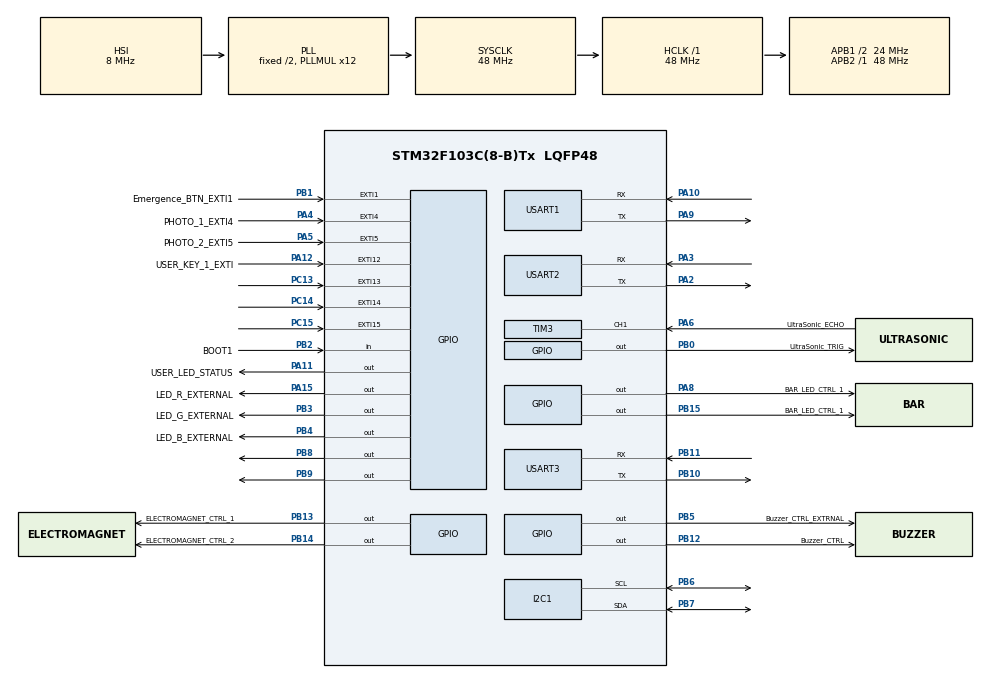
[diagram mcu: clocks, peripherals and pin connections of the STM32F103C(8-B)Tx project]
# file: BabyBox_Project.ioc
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Mcu.Family=STM32F1
Mcu.Name=STM32F103C(8-B)Tx
Mcu.Package=LQFP48
NVIC.EXTI1_IRQn=true\:3\:0\:true\:false\:true\:true
NVIC.EXTI4_IRQn=true\:4\:0\:true\:false\:true\:true
NVIC.EXTI9_5_IRQn=true\:1\:0\:true\:false\:true\:true
NVIC.PriorityGroup=NVIC_PRIORITYGROUP_4
NVIC.TIM1_BRK_IRQn=true\:0\:0\:true\:false\:true\:true
NVIC.TIM1_UP_IRQn=true\:0\:0\:true\:false\:true\:true
NVIC.TIM3_IRQn=true\:2\:0\:true\:false\:true\:true
PA10.Mode=Asynchronous
PA10.Signal=USART1_RX
PA11.GPIO_Label=USER_LED_STATUS
PA11.Signal=GPIO_Output
PA12.GPIO_Label=USER_KEY_1_EXTI
PA12.Signal=GPXTI12
PA13.Signal=SYS_JTMS-SWDIO
PA14.Signal=SYS_JTCK-SWCLK
PA15.GPIO_Label=LED_R_EXTERNAL
PA15.Signal=GPIO_Output
PA2.Mode=Asynchronous
PA2.Signal=USART2_TX
PA3.Mode=Asynchronous
PA3.Signal=USART2_RX
PA4.GPIO_Label=PHOTO_1_EXTI4
PA4.GPIO_ModeDefaultEXTI=GPIO_MODE_IT_RISING_FALLING
PA4.GPIO_PuPd=GPIO_PULLUP
PA4.Signal=GPXTI4
PA5.GPIO_Label=PHOTO_2_EXTI5
PA5.GPIO_ModeDefaultEXTI=GPIO_MODE_IT_RISING_FALLING
PA5.GPIO_PuPd=GPIO_PULLUP
PA5.Signal=GPXTI5
PA6.GPIO_Label=UltraSonic_ECHO
PA6.Signal=S_TIM3_CH1
PA8.GPIO_Label=BAR_LED_CTRL_1
PA8.Signal=GPIO_Output
PA9.Mode=Asynchronous
PA9.Signal=USART1_TX
PB0.GPIO_Label=UltraSonic_TRIG
PB0.Signal=GPIO_Output
PB1.GPIO_Label=Emergence_BTN_EXTI1
PB1.Signal=GPXTI1
PB10.Mode=Asynchronous
PB10.Signal=USART3_TX
PB11.Mode=Asynchronous
PB11.Signal=USART3_RX
PB12.GPIO_Label=Buzzer_CTRL
PB12.Signal=GPIO_Output
PB13.GPIO_Label=ELECTROMAGNET_CTRL_1
PB13.GPIO_PuPd=GPIO_PULLDOWN
PB13.Signal=GPIO_Output
PB14.GPIO_Label=ELECTROMAGNET_CTRL_2
PB14.GPIO_PuPd=GPIO_PULLDOWN
PB14.Signal=GPIO_Output
PB15.GPIO_Label=BAR_LED_CTRL_1
PB15.Signal=GPIO_Output
PB2.GPIO_Label=BOOT1
PB2.Signal=GPIO_Input
PB3.GPIO_Label=LED_G_EXTERNAL
PB3.Signal=GPIO_Output
PB4.GPIO_Label=LED_B_EXTERNAL
PB4.Signal=GPIO_Output
PB5.GPIO_Label=Buzzer_CTRL_EXTRNAL
PB5.Signal=GPIO_Output
PB6.Mode=I2C
PB6.Signal=I2C1_SCL
PB7.Mode=I2C
PB7.Signal=I2C1_SDA
PB8.Signal=GPIO_Output
PB9.Signal=GPIO_Output
PC13-TAMPER-RTC.Signal=GPXTI13
PC14-OSC32_IN.Signal=GPXTI14
PC15-OSC32_OUT.Signal=GPXTI15
PD0-OSC_IN.Mode=HSE-External-Oscillator
PD0-OSC_IN.Signal=RCC_OSC_IN
PD1-OSC_OUT.Mode=HSE-External-Oscillator
PD1-OSC_OUT.Signal=RCC_OSC_OUT
ProjectManager.HeapSize=0x200
ProjectManager.StackSize=0x400
ProjectManager.TargetToolchain=SW4STM32
RCC.AHBFreq_Value=48000000
RCC.APB1CLKDivider=RCC_HCLK_DIV2
RCC.APB1Freq_Value=24000000
RCC.APB1TimFreq_Value=48000000
RCC.APB2Freq_Value=48000000
RCC.APB2TimFreq_Value=48000000
RCC.HCLKFreq_Value=48000000
RCC.PLLMUL=RCC_PLL_MUL12
RCC.SYSCLKFreq_VALUE=48000000
RCC.SYSCLKSource=RCC_SYSCLKSOURCE_PLLCLK
RCC.USBFreq_Value=48000000
SH.S_TIM3_CH1.0=TIM3_CH1,Input_Capture1_from_TI1
SH.S_TIM3_CH1.1=TIM3_CH1,Input_Capture2_from_TI1
TIM1.Channel-Output\ Compare1\ No\ Output=TIM_CHANNEL_1
TIM1.Period=10
TIM1.Prescaler=48-1
TIM3.Channel-Input_Capture1_from_TI1=TIM_CHANNEL_1
TIM3.Channel-Input_Capture2_from_TI1=TIM_CHANNEL_2
TIM3.ICFilter_CH1=0
TIM3.ICPolarity_CH2=TIM_INPUTCHANNELPOLARITY_FALLING
TIM3.Period=65534
TIM3.Prescaler=48-1
USART1.VirtualMode=VM_ASYNC
USART2.VirtualMode=VM_ASYNC
USART3.VirtualMode=VM_ASYNC
VP_SYS_VS_ND.Mode=No_Debug
VP_TIM1_VS_ClockSourceINT.Mode=Internal
VP_TIM1_VS_no_output1.Mode=Output Compare1 No Output
VP_TIM3_VS_ClockSourceINT.Mode=Internal
board=custom

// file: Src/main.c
/* USER CODE BEGIN Header */
/**
  ******************************************************************************
  * @file           : main.c
  * @brief          : Main program body
  ******************************************************************************
  ** This notice applies to any and all portions of this file
  * that are not between comment pairs USER CODE BEGIN and
  * USER CODE END. Other portions of this file, whether
  * inserted by the user or by software development tools
  * are owned by their respective copyright owners.
  *
  * COPYRIGHT(c) 2018 STMicroelectronics
  *
  * Redistribution and use in source and binary forms, with or without modification,
  * are permitted provided that the following conditions are met:
  *   1. Redistributions of source code must retain the above copyright notice,
  *      this list of conditions and the following disclaimer.
  *   2. Redistributions in binary form must reproduce the above copyright notice,
  *      this list of conditions and the following disclaimer in the documentation
  *      and/or other materials provided with the distribution.
  *   3. Neither the name of STMicroelectronics nor the names of its contributors
  *      may be used to endorse or promote products derived from this software
  *      without specific prior written permission.
  *
  * THIS SOFTWARE IS PROVIDED BY THE COPYRIGHT HOLDERS AND CONTRIBUTORS "AS IS"
  * AND ANY EXPRESS OR IMPLIED WARRANTIES, INCLUDING, BUT NOT LIMITED TO, THE
  * IMPLIED WARRANTIES OF MERCHANTABILITY AND FITNESS FOR A PARTICULAR PURPOSE ARE
  * DISCLAIMED. IN NO EVENT SHALL THE COPYRIGHT HOLDER OR CONTRIBUTORS BE LIABLE
  * FOR ANY DIRECT, INDIRECT, INCIDENTAL, SPECIAL, EXEMPLARY, OR CONSEQUENTIAL
  * DAMAGES (INCLUDING, BUT NOT LIMITED TO, PROCUREMENT OF SUBSTITUTE GOODS OR
  * SERVICES; LOSS OF USE, DATA, OR PROFITS; OR BUSINESS INTERRUPTION) HOWEVER
  * CAUSED AND ON ANY THEORY OF LIABILITY, WHETHER IN CONTRACT, STRICT LIABILITY,
  * OR TORT (INCLUDING NEGLIGENCE OR OTHERWISE) ARISING IN ANY WAY OUT OF THE USE
  * OF THIS SOFTWARE, EVEN IF ADVISED OF THE POSSIBILITY OF SUCH DAMAGE.
  *
  ******************************************************************************
  */
/* USER CODE END Header */

#include "main.h"
#include "i2c.h"
#include "tim.h"
#include "usart.h"
#include "gpio.h"

/* USER CODE BEGIN Includes */
#include "device_led.h"
#include "device_relay.h"
#include "device_photoInterrupter.h"
#include "device_PIRsensor.h"
#include "device_buzzer.h"
#include "device_button.h"
#include "device_ultraSonic.h"
#include "ssd1306.h"
#include "fonts.h"
#include "stateMachine.h"
/* USER CODE END Includes */

/* USER CODE BEGIN PV */
/* Private variables ---------------------------------------------------------*/
UART_HandleTypeDef huart1;
UART_HandleTypeDef* phuart1;
USER_ACTION* tCurrent_state;

/* USER CODE END PV */

void SystemClock_Config(void);
/* USER CODE BEGIN PFP */
/* Private function prototypes -----------------------------------------------*/

static void EXTI1_IRQHandler_Config(void);
static void EXTI4_IRQHandler_Config(void);
static void EXTI9_5_IRQHandler_Config(void);
/* USER CODE END PFP */

/* USER CODE BEGIN 0 */
// User defined : Callback Function
void HAL_TIM_IC_CaptureCallback(TIM_HandleTypeDef* htim) {

	ultraSonic_measureCaptureVal(htim);

}

void HAL_TIM_PeriodElapsedCallback(TIM_HandleTypeDef *htim) {

	ultraSonic_trigger();

}

/* USER CODE END 0 */

int main(void)
{

  /* MCU Configuration--------------------------------------------------------*/

  /* Reset of all peripherals, Initializes the Flash interface and the Systick. */
  HAL_Init();

  /* Configure the system clock */
  SystemClock_Config();

  /* Initialize all configured peripherals */
  MX_GPIO_Init();
  MX_I2C1_Init();
  MX_USART1_UART_Init();
  MX_USART2_UART_Init();
  MX_USART3_UART_Init();
  MX_TIM1_Init();
  MX_TIM3_Init();
  /* USER CODE BEGIN 2 */

  /* Setting for UltraSonic function */
  HAL_TIM_Base_Start_IT(&htim1);
  HAL_TIM_IC_Start_IT(&htim3, TIM_CHANNEL_1);
  HAL_TIM_IC_Start_IT(&htim3, TIM_CHANNEL_2);
#if 1
#else		// ORIG
  __HAL_RCC_GPIOC_CLK_ENABLE();
  __HAL_RCC_GPIOD_CLK_ENABLE();
  __HAL_RCC_GPIOA_CLK_ENABLE();
  __HAL_RCC_GPIOB_CLK_ENABLE();

  LED_Init(RED_LED, GREEN_LED, BLUE_LED);
  //  PB_Init(BUTTON_USER, BUTTON_MODE_EXTI);
  PIS_Init(PIS1);
  PIS_Init(PIS2);
  PIR_Sensor_Init(PIR_SENSOR1);
  Relay_Init(RELAY1);
  Relay_Init(RELAY2);
  //BUZZER_Init(BUZZER_INTERNAL);
  Buzzer_Init(BUZZER_EXTERNAL);
  Button_Init(EMERGENCY_BUTTON);

  /* Initialize interrupts */
  EXTI1_IRQHandler_Config();
  EXTI4_IRQHandler_Config();
  EXTI9_5_IRQHandler_Config();

  MX_USART1_UART_Init();
  MX_USART2_UART_Init();
  MX_USART3_UART_Init();

  MX_I2C1_Init();
  MX_TIM1_Init();
  MX_TIM3_Init();
  /* Setting for UltraSonic function */
  HAL_TIM_Base_Start_IT(&htim1);
  HAL_TIM_IC_Start_IT(&htim3, TIM_CHANNEL_1);
  HAL_TIM_IC_Start_IT(&htim3, TIM_CHANNEL_2);

#endif
  /* USER CODE END 2 */

  /* Infinite loop */
  /* USER CODE BEGIN WHILE */
  extdoor_status = EXT_DOOR_CLOSE;
  innerdoor_state = INNER_DOOR_CLOSE;
  baby_state = BABY_NONE;

  changeingState = initialize_state();

// uint8_t Welcome[] = "Welcome";
// HAL_UART_Transmit(&huart1, (uint8_t*)Welcome, sizeof(Welcome), 10);		// TESTING
  printf("Welcome!!");

#if 0	// OLED TEST
  ssd1306_Init();

  HAL_Delay(1000);
  ssd1306_Fill(White);
  ssd1306_UpdateScreen();

  HAL_Delay(50);

  ssd1306_SetCursor(23,23);
  ssd1306_WriteString("Hello World",Font_11x18,Black);
  ssd1306_UpdateScreen();

  HAL_Delay(2000);
  ssd1306_Fill(White);		// For Clear
  ssd1306_UpdateScreen();

  ssd1306_SetCursor(5,23);
  ssd1306_WriteString("World Wide",Font_11x18,Black);
  ssd1306_UpdateScreen();

#endif

  while(1)
  {
    /* USER CODE END WHILE */

    /* USER CODE BEGIN 3 */
	  tCurrent_state = change_state();
	  tCurrent_state->extdoor_open();
	  tCurrent_state->extdoor_close();
	  tCurrent_state->inner_door_open();
	  tCurrent_state->inner_door_close();
	  tCurrent_state->baby_in();
	  tCurrent_state->baby_none();

  }
  /* USER CODE END 3 */
}

void SystemClock_Config(void)
{
  RCC_OscInitTypeDef RCC_OscInitStruct = {0};
  RCC_ClkInitTypeDef RCC_ClkInitStruct = {0};

  /**Initializes the CPU, AHB and APB busses clocks
  */
  RCC_OscInitStruct.OscillatorType = RCC_OSCILLATORTYPE_HSI;
  RCC_OscInitStruct.HSIState = RCC_HSI_ON;
  RCC_OscInitStruct.HSICalibrationValue = RCC_HSICALIBRATION_DEFAULT;
  RCC_OscInitStruct.PLL.PLLState = RCC_PLL_ON;
  RCC_OscInitStruct.PLL.PLLSource = RCC_PLLSOURCE_HSI_DIV2;
  RCC_OscInitStruct.PLL.PLLMUL = RCC_PLL_MUL12;
  if (HAL_RCC_OscConfig(&RCC_OscInitStruct) != HAL_OK)
  {
    Error_Handler();
  }
  /**Initializes the CPU, AHB and APB busses clocks
  */
  RCC_ClkInitStruct.ClockType = RCC_CLOCKTYPE_HCLK|RCC_CLOCKTYPE_SYSCLK
                              |RCC_CLOCKTYPE_PCLK1|RCC_CLOCKTYPE_PCLK2;
  RCC_ClkInitStruct.SYSCLKSource = RCC_SYSCLKSOURCE_PLLCLK;
  RCC_ClkInitStruct.AHBCLKDivider = RCC_SYSCLK_DIV1;
  RCC_ClkInitStruct.APB1CLKDivider = RCC_HCLK_DIV2;
  RCC_ClkInitStruct.APB2CLKDivider = RCC_HCLK_DIV1;

  if (HAL_RCC_ClockConfig(&RCC_ClkInitStruct, FLASH_LATENCY_1) != HAL_OK)
  {
    Error_Handler();
  }
}

/* USER CODE BEGIN 4 */
static void EXTI1_IRQHandler_Config(void) {			// Emergency Button
	/*Enable and set EXTI lines 1 Interrupt to the lowest priority */
	HAL_NVIC_SetPriority(EXTI1_IRQn, 3, 0);
	HAL_NVIC_EnableIRQ(EXTI1_IRQn);
}

static void EXTI4_IRQHandler_Config(void) {			//exteranl Photo Interrupter
	/*Enable and set EXTI lines 2 to 3 Interrupt*/
	HAL_NVIC_SetPriority(EXTI4_IRQn, 4, 0);
	HAL_NVIC_EnableIRQ(EXTI4_IRQn);
}

static void EXTI9_5_IRQHandler_Config(void) {		// Inner Photo Interrupter // PIR Motion Sensor
	/*Enable and set EXTI lines 4 to 15 Interrupt*/
	HAL_NVIC_SetPriority(EXTI9_5_IRQn, 5, 0);
	HAL_NVIC_EnableIRQ(EXTI9_5_IRQn);
}

void HAL_GPIO_EXTI_Callback(uint16_t Action) {

	HAL_GPIO_TogglePin(GPIOA, GPIO_PIN_11);
	printf("______________________CallBack In\n");
	if(Action == EXT_DOOR_PIN) {
		switch(HAL_GPIO_ReadPin(EXT_DOOR_PORT, EXT_DOOR_PIN)) {
			case GPIO_PIN_SET	:
				extdoor_status = EXT_DOOR_CLOSE;
				break;

			case GPIO_PIN_RESET	:
				extdoor_status = EXT_DOOR_OPEN;
				break;

			default		:	// exception
				extdoor_status = EXT_DOOR_CLOSE;
				break;
		}
	}

	if(Action == INNER_DOOR_PIN) {
		switch(HAL_GPIO_ReadPin(INNER_DOOR_PORT, INNER_DOOR_PIN)) {
			case GPIO_PIN_SET	:
				innerdoor_state = INNER_DOOR_CLOSE;
				break;

			case GPIO_PIN_RESET	:
				innerdoor_state = INNER_DOOR_OPEN;
				break;

			default		:	// exception
				innerdoor_state = INNER_DOOR_CLOSE;
				break;
		}
	}

#if 0		// PIR SENSOR was not adapted in babybox
	if(Action == MOTION_DETECTING) {
		baby_state = BABY_IN;
	}
#endif

	if(Action == BUTTON_EMERGENCY) {
		switch(HAL_GPIO_ReadPin(BUTTON_1_PORT, BUTTON_EMERGENCY)) {
			case GPIO_PIN_SET	:
				changeingState = recovery_state();
				break;

			case GPIO_PIN_RESET	:
				break;

			default		:	// exception
				break;
		}
	}

}

/* USER CODE END 4 */

void Error_Handler(void)
{
  /* USER CODE BEGIN Error_Handler_Debug */
  /* User can add his own implementation to report the HAL error return state */
  while(1)
  {
	  printf("You got error handler");
  }
  /* USER CODE END Error_Handler_Debug */
}

/************************ (C) COPYRIGHT STMicroelectronics *****END OF FILE****/
